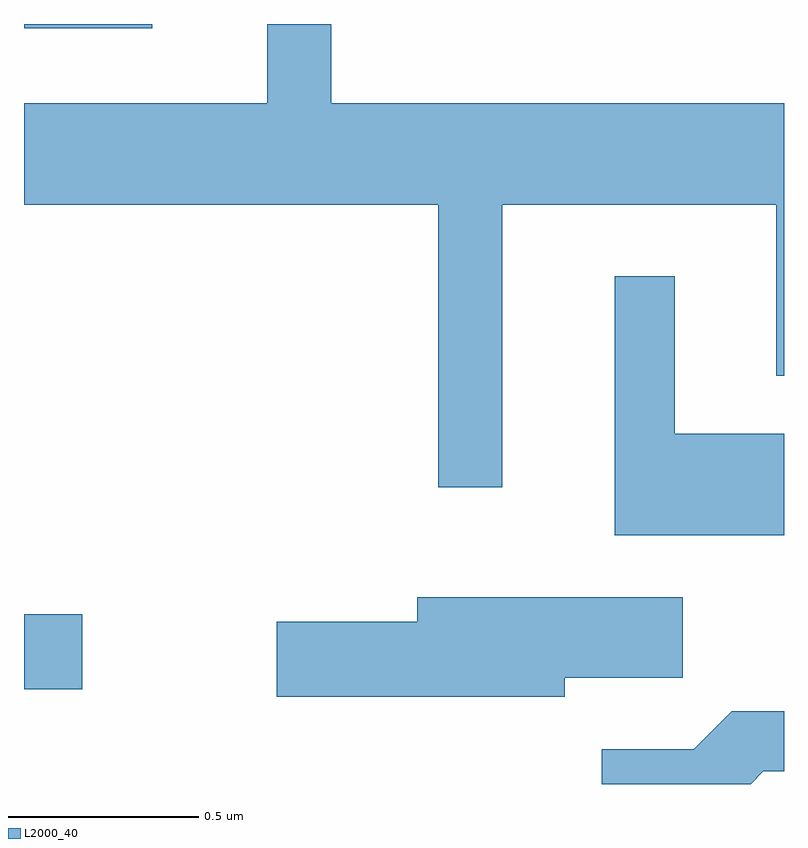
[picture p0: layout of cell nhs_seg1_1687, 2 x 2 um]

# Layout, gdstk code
import gdstk
lib = gdstk.Library(unit=1e-6, precision=1e-09)
def R(c, l, rs):  # rectangles x0, y0, x1, y1
    for r in rs: c.add(gdstk.rectangle(r[:2], r[2:], *l))
def P(c, l, *ps):  # polygons
    for p in ps: c.add(gdstk.Polygon(p, *l))
L2000_40 = (2000, 40)

nhs_seg1_1687 = lib.new_cell('nhs_seg1_1687')
R(nhs_seg1_1687, L2000_40, [(197.611,904.961,197.764,905.159), (197.611,906.701,197.949,906.712)])
P(nhs_seg1_1687, L2000_40, [(198.869,906.236),(199.591,906.236),(199.591,905.786),(199.611,905.786),(199.611,906.504),(198.419,906.504),(198.419,906.712),(198.251,906.712),(198.251,906.504),(197.611,906.504),(197.611,906.236),(198.701,906.236),(198.701,905.493),(198.869,905.493)],
  [(199.611,905.634),(199.324,905.634),(199.324,906.048),(199.166,906.048),(199.166,905.366),(199.611,905.366)],
  [(199.034,904.991),(199.344,904.991),(199.344,905.204),(198.646,905.204),(198.646,905.139),(198.276,905.139),(198.276,904.941),(199.034,904.941)],
  [(199.557,904.746),(199.611,904.746),(199.611,904.904),(199.474,904.904),(199.374,904.804),(199.131,904.804),(199.131,904.712),(199.523,904.712)])

lib.write_gds('nhs_seg1_1687.gds')
